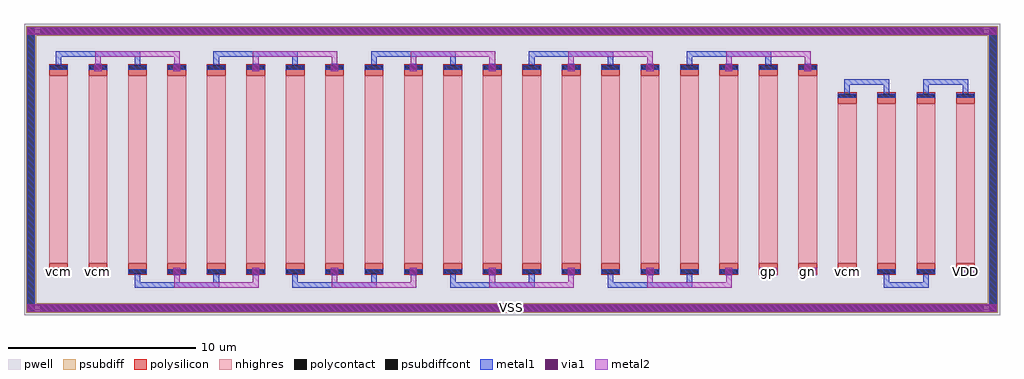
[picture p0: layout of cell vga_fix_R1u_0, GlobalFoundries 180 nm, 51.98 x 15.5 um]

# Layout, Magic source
magic
tech gf180mcuD
magscale 1 10
<< pwell >>
rect -368 -464 10028 2636
<< psubdiff >>
rect -344 -440 10004 -336
rect -344 2508 10004 2612
rect -344 -336 -240 2508
rect 9900 -336 10004 2508
<< polysilicon >>
rect -100 2086 100 2208
rect -100 -36 100 86
rect 740 2086 940 2208
rect 740 -36 940 86
rect 1580 2086 1780 2208
rect 1580 -36 1780 86
rect 2420 2086 2620 2208
rect 2420 -36 2620 86
rect 3260 2086 3460 2208
rect 3260 -36 3460 86
rect 4100 2086 4300 2208
rect 4100 -36 4300 86
rect 4940 2086 5140 2208
rect 4940 -36 5140 86
rect 5780 2086 5980 2208
rect 5780 -36 5980 86
rect 6620 2086 6820 2208
rect 6620 -36 6820 86
rect 7460 2086 7660 2208
rect 7460 -36 7660 86
rect 320 2086 520 2208
rect 320 -36 520 86
rect 1160 2086 1360 2208
rect 1160 -36 1360 86
rect 2000 2086 2200 2208
rect 2000 -36 2200 86
rect 2840 2086 3040 2208
rect 2840 -36 3040 86
rect 3680 2086 3880 2208
rect 3680 -36 3880 86
rect 4520 2086 4720 2208
rect 4520 -36 4720 86
rect 5360 2086 5560 2208
rect 5360 -36 5560 86
rect 6200 2086 6400 2208
rect 6200 -36 6400 86
rect 7040 2086 7240 2208
rect 7040 -36 7240 86
rect 7880 2086 8080 2208
rect 7880 -36 8080 86
rect 8300 1786 8500 1908
rect 8300 -36 8500 86
rect 8720 1786 8920 1908
rect 8720 -36 8920 86
rect 9140 1786 9340 1908
rect 9140 -36 9340 86
rect 9560 1786 9760 1908
rect 9560 -36 9760 86
<< nhighres >>
rect -100 86 100 2086
rect 740 86 940 2086
rect 1580 86 1780 2086
rect 2420 86 2620 2086
rect 3260 86 3460 2086
rect 4100 86 4300 2086
rect 4940 86 5140 2086
rect 5780 86 5980 2086
rect 6620 86 6820 2086
rect 7460 86 7660 2086
rect 320 86 520 2086
rect 1160 86 1360 2086
rect 2000 86 2200 2086
rect 2840 86 3040 2086
rect 3680 86 3880 2086
rect 4520 86 4720 2086
rect 5360 86 5560 2086
rect 6200 86 6400 2086
rect 7040 86 7240 2086
rect 7880 86 8080 2086
rect 8300 86 8500 1786
rect 8720 86 8920 1786
rect 9140 86 9340 1786
rect 9560 86 9760 1786
<< psubdiffcont >>
rect -331 -416 -253 2588
rect 9913 -416 9991 2588
rect -193 2521 9853 2599
rect -193 -427 9853 -349
<< polycontact >>
rect -87 2149 87 2195
rect -87 -23 87 23
rect 753 2149 927 2195
rect 753 -23 927 23
rect 1593 2149 1767 2195
rect 1593 -23 1767 23
rect 2433 2149 2607 2195
rect 2433 -23 2607 23
rect 3273 2149 3447 2195
rect 3273 -23 3447 23
rect 4113 2149 4287 2195
rect 4113 -23 4287 23
rect 4953 2149 5127 2195
rect 4953 -23 5127 23
rect 5793 2149 5967 2195
rect 5793 -23 5967 23
rect 6633 2149 6807 2195
rect 6633 -23 6807 23
rect 7473 2149 7647 2195
rect 7473 -23 7647 23
rect 333 2149 507 2195
rect 333 -23 507 23
rect 1173 2149 1347 2195
rect 1173 -23 1347 23
rect 2013 2149 2187 2195
rect 2013 -23 2187 23
rect 2853 2149 3027 2195
rect 2853 -23 3027 23
rect 3693 2149 3867 2195
rect 3693 -23 3867 23
rect 4533 2149 4707 2195
rect 4533 -23 4707 23
rect 5373 2149 5547 2195
rect 5373 -23 5547 23
rect 6213 2149 6387 2195
rect 6213 -23 6387 23
rect 7053 2149 7227 2195
rect 7053 -23 7227 23
rect 7893 2149 8067 2195
rect 7893 -23 8067 23
rect 8313 1849 8487 1895
rect 8313 -23 8487 23
rect 8733 1849 8907 1895
rect 8733 -23 8907 23
rect 9153 1849 9327 1895
rect 9153 -23 9327 23
rect 9573 1849 9747 1895
rect 9573 -23 9747 23
<< metal1 >>
rect -98 2149 98 2195
rect -98 -23 98 23
rect 742 2149 938 2195
rect 742 -23 938 23
rect 1582 2149 1778 2195
rect 1582 -23 1778 23
rect 2422 2149 2618 2195
rect 2422 -23 2618 23
rect 3262 2149 3458 2195
rect 3262 -23 3458 23
rect 4102 2149 4298 2195
rect 4102 -23 4298 23
rect 4942 2149 5138 2195
rect 4942 -23 5138 23
rect 5782 2149 5978 2195
rect 5782 -23 5978 23
rect 6622 2149 6818 2195
rect 6622 -23 6818 23
rect 7462 2149 7658 2195
rect 7462 -23 7658 23
rect 322 2149 518 2195
rect 322 -23 518 23
rect 1162 2149 1358 2195
rect 1162 -23 1358 23
rect 2002 2149 2198 2195
rect 2002 -23 2198 23
rect 2842 2149 3038 2195
rect 2842 -23 3038 23
rect 3682 2149 3878 2195
rect 3682 -23 3878 23
rect 4522 2149 4718 2195
rect 4522 -23 4718 23
rect 5362 2149 5558 2195
rect 5362 -23 5558 23
rect 6202 2149 6398 2195
rect 6202 -23 6398 23
rect 7042 2149 7238 2195
rect 7042 -23 7238 23
rect 7882 2149 8078 2195
rect 7882 -23 8078 23
rect 8302 1849 8498 1895
rect 8302 -23 8498 23
rect 8722 1849 8918 1895
rect 8722 -23 8918 23
rect 9142 1849 9338 1895
rect 9142 -23 9338 23
rect 9562 1849 9758 1895
rect 9562 -23 9758 23
rect -98 -38 98 38
rect -30 2149 30 2348
rect 810 2149 870 2348
rect -30 2288 870 2348
rect 810 -176 870 23
rect 1650 -176 1710 23
rect 810 -176 1710 -116
rect 1650 2149 1710 2348
rect 2490 2149 2550 2348
rect 1650 2288 2550 2348
rect 2490 -176 2550 23
rect 3330 -176 3390 23
rect 2490 -176 3390 -116
rect 3330 2149 3390 2348
rect 4170 2149 4230 2348
rect 3330 2288 4230 2348
rect 4170 -176 4230 23
rect 5010 -176 5070 23
rect 4170 -176 5070 -116
rect 5010 2149 5070 2348
rect 5850 2149 5910 2348
rect 5010 2288 5910 2348
rect 5850 -176 5910 23
rect 6690 -176 6750 23
rect 5850 -176 6750 -116
rect 6690 2149 6750 2348
rect 7530 2149 7590 2348
rect 6690 2288 7590 2348
rect 7462 -38 7658 38
rect 322 -38 518 38
rect 382 2134 458 2210
rect 1222 2134 1298 2210
rect 1222 -38 1298 38
rect 2062 -38 2138 38
rect 2062 2134 2138 2210
rect 2902 2134 2978 2210
rect 2902 -38 2978 38
rect 3742 -38 3818 38
rect 3742 2134 3818 2210
rect 4582 2134 4658 2210
rect 4582 -38 4658 38
rect 5422 -38 5498 38
rect 5422 2134 5498 2210
rect 6262 2134 6338 2210
rect 6262 -38 6338 38
rect 7102 -38 7178 38
rect 7102 2134 7178 2210
rect 7942 2134 8018 2210
rect 7882 -38 8078 38
rect 8302 -38 8498 38
rect 8370 1849 8430 2048
rect 8790 1849 8850 2048
rect 8370 1988 8850 2048
rect 8790 -176 8850 23
rect 9210 -176 9270 23
rect 8790 -176 9270 -116
rect 9210 1849 9270 2048
rect 9630 1849 9690 2048
rect 9210 1988 9690 2048
rect 9562 -38 9758 38
rect -331 -427 9991 -349
rect -331 2521 9991 2599
rect -331 -427 -253 2599
rect 9913 -427 9991 2599
rect -331 -427 9991 -349
rect -331 2521 9991 2599
<< metal2 >>
rect -98 -38 98 38
rect 7462 -38 7658 38
rect 322 -38 518 38
rect 382 2134 458 2210
rect 390 2172 450 2348
rect 1222 2134 1298 2210
rect 1230 2172 1290 2348
rect 390 2288 1290 2348
rect 1222 -38 1298 38
rect 1230 -176 1290 0
rect 2062 -38 2138 38
rect 2070 -176 2130 0
rect 1230 -176 2130 -116
rect 2062 2134 2138 2210
rect 2070 2172 2130 2348
rect 2902 2134 2978 2210
rect 2910 2172 2970 2348
rect 2070 2288 2970 2348
rect 2902 -38 2978 38
rect 2910 -176 2970 0
rect 3742 -38 3818 38
rect 3750 -176 3810 0
rect 2910 -176 3810 -116
rect 3742 2134 3818 2210
rect 3750 2172 3810 2348
rect 4582 2134 4658 2210
rect 4590 2172 4650 2348
rect 3750 2288 4650 2348
rect 4582 -38 4658 38
rect 4590 -176 4650 0
rect 5422 -38 5498 38
rect 5430 -176 5490 0
rect 4590 -176 5490 -116
rect 5422 2134 5498 2210
rect 5430 2172 5490 2348
rect 6262 2134 6338 2210
rect 6270 2172 6330 2348
rect 5430 2288 6330 2348
rect 6262 -38 6338 38
rect 6270 -176 6330 0
rect 7102 -38 7178 38
rect 7110 -176 7170 0
rect 6270 -176 7170 -116
rect 7102 2134 7178 2210
rect 7110 2172 7170 2348
rect 7942 2134 8018 2210
rect 7950 2172 8010 2348
rect 7110 2288 8010 2348
rect 7882 -38 8078 38
rect 8302 -38 8498 38
rect 9562 -38 9758 38
rect -331 -427 9991 -349
rect -331 2521 9991 2599
<< via1 >>
rect -86 -26 86 26
rect 7474 -26 7646 26
rect 334 -26 506 26
rect 394 2146 446 2198
rect 1234 2146 1286 2198
rect 1234 -26 1286 26
rect 2074 -26 2126 26
rect 2074 2146 2126 2198
rect 2914 2146 2966 2198
rect 2914 -26 2966 26
rect 3754 -26 3806 26
rect 3754 2146 3806 2198
rect 4594 2146 4646 2198
rect 4594 -26 4646 26
rect 5434 -26 5486 26
rect 5434 2146 5486 2198
rect 6274 2146 6326 2198
rect 6274 -26 6326 26
rect 7114 -26 7166 26
rect 7114 2146 7166 2198
rect 7954 2146 8006 2198
rect 7894 -26 8066 26
rect 8314 -26 8486 26
rect 9574 -26 9746 26
rect -319 -415 9979 -361
rect -319 2533 9979 2587
<< labels >>
flabel metal2 s -98 -38 98 38 0 FreeSans 80 0 0 0 vcm
port 1 nsew signal bidirectional
flabel metal2 s 7462 -38 7658 38 0 FreeSans 80 0 0 0 gp
port 2 nsew signal bidirectional
flabel metal2 s 322 -38 518 38 0 FreeSans 80 0 0 0 vcm
port 1 nsew signal bidirectional
flabel metal2 s 7882 -38 8078 38 0 FreeSans 80 0 0 0 gn
port 3 nsew signal bidirectional
flabel metal2 s 8302 -38 8498 38 0 FreeSans 80 0 0 0 vcm
port 1 nsew signal bidirectional
flabel metal2 s 9562 -38 9758 38 0 FreeSans 80 0 0 0 VDD
port 4 nsew signal bidirectional
flabel metal2 s -331 -427 9991 -349 0 FreeSans 80 0 0 0 VSS
port 5 nsew signal bidirectional
<< end >>
